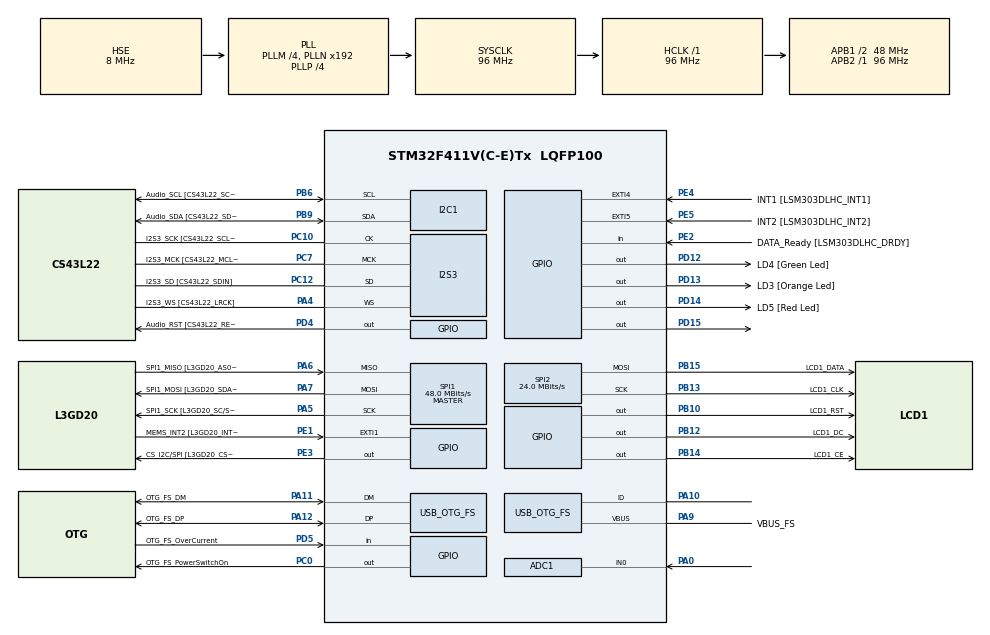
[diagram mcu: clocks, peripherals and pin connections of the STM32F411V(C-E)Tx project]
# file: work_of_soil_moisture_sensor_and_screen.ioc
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ADC1.Channel-0\#ChannelRegularConversion=ADC_CHANNEL_0
ADC1.ContinuousConvMode=ENABLE
ADC1.NbrOfConversionFlag=1
ADC1.Rank-0\#ChannelRegularConversion=1
ADC1.SamplingTime-0\#ChannelRegularConversion=ADC_SAMPLETIME_3CYCLES
ADC1.master=1
I2S3.AudioFreq=I2S_AUDIOFREQ_96K
I2S3.ErrorAudioFreq=-6.99 %
I2S3.FullDuplexMode=I2S_FULLDUPLEXMODE_DISABLE
I2S3.Instance=SPI$Index
I2S3.RealAudioFreq=89.285 KHz
I2S3.VirtualMode=I2S_MODE_MASTER
Mcu.Family=STM32F4
Mcu.Name=STM32F411V(C-E)Tx
Mcu.Package=LQFP100
NVIC.PriorityGroup=NVIC_PRIORITYGROUP_0
PA0-WKUP.Signal=ADCx_IN0
PA10.Mode=OTG/Dual_Role_Device
PA10.Signal=USB_OTG_FS_ID
PA11.GPIO_Label=OTG_FS_DM
PA11.Mode=OTG/Dual_Role_Device
PA11.Signal=USB_OTG_FS_DM
PA12.GPIO_Label=OTG_FS_DP
PA12.Mode=OTG/Dual_Role_Device
PA12.Signal=USB_OTG_FS_DP
PA13.GPIO_Label=SWDIO
PA13.Mode=Serial_Wire
PA13.Signal=SYS_JTMS-SWDIO
PA14.GPIO_Label=SWCLK
PA14.Mode=Serial_Wire
PA14.Signal=SYS_JTCK-SWCLK
PA4.GPIO_Label=I2S3_WS [CS43L22_LRCK]
PA4.GPIO_Mode=GPIO_MODE_AF_PP
PA4.GPIO_PuPd=GPIO_NOPULL
PA4.GPIO_Speed=GPIO_SPEED_FREQ_LOW
PA4.Mode=Half_Duplex_Master
PA4.Signal=I2S3_WS
PA5.GPIO_Label=SPI1_SCK [L3GD20_SC/SPC]
PA5.Mode=Full_Duplex_Master
PA5.Signal=SPI1_SCK
PA6.GPIO_Label=SPI1_MISO [L3GD20_AS0/SDO]
PA6.Mode=Full_Duplex_Master
PA6.Signal=SPI1_MISO
PA7.GPIO_Label=SPI1_MOSI [L3GD20_SDA/SDI/SDO]
PA7.Mode=Full_Duplex_Master
PA7.Signal=SPI1_MOSI
PA9.GPIO_Label=VBUS_FS
PA9.Mode=Activate_VBUS
PA9.Signal=USB_OTG_FS_VBUS
PB10.GPIO_Label=LCD1_RST
PB10.Signal=GPIO_Output
PB12.GPIO_Label=LCD1_DC
PB12.Signal=GPIO_Output
PB13.GPIO_Label=LCD1_CLK
PB13.Mode=TX_Only_Simplex_Unidirect_Master
PB13.Signal=SPI2_SCK
PB14.GPIO_Label=LCD1_CE
PB14.Signal=GPIO_Output
PB15.GPIO_Label=LCD1_DATA
PB15.Mode=TX_Only_Simplex_Unidirect_Master
PB15.Signal=SPI2_MOSI
PB3.Signal=SYS_JTDO-SWO
PB6.GPIO_Label=Audio_SCL [CS43L22_SCL]
PB6.GPIO_Mode=GPIO_MODE_AF_OD
PB6.GPIO_PuPd=GPIO_NOPULL
PB6.GPIO_Speed=GPIO_SPEED_FREQ_LOW
PB6.Mode=I2C
PB6.Signal=I2C1_SCL
PB9.GPIO_Label=Audio_SDA [CS43L22_SDA]
PB9.GPIO_Mode=GPIO_MODE_AF_OD
PB9.GPIO_PuPd=GPIO_NOPULL
PB9.GPIO_Speed=GPIO_SPEED_FREQ_LOW
PB9.Mode=I2C
PB9.Signal=I2C1_SDA
PC0.GPIO_Label=OTG_FS_PowerSwitchOn
PC0.PinState=GPIO_PIN_SET
PC0.Signal=GPIO_Output
PC10.GPIO_Label=I2S3_SCK [CS43L22_SCLK]
PC10.GPIO_Mode=GPIO_MODE_AF_PP
PC10.GPIO_PuPd=GPIO_NOPULL
PC10.GPIO_Speed=GPIO_SPEED_FREQ_LOW
PC10.Mode=Half_Duplex_Master
PC10.Signal=I2S3_CK
PC12.GPIO_Label=I2S3_SD [CS43L22_SDIN]
PC12.GPIO_Mode=GPIO_MODE_AF_PP
PC12.GPIO_PuPd=GPIO_NOPULL
PC12.GPIO_Speed=GPIO_SPEED_FREQ_LOW
PC12.Mode=Half_Duplex_Master
PC12.Signal=I2S3_SD
PC14-OSC32_IN.GPIO_Label=PC14-OSC32_IN
PC14-OSC32_IN.Mode=LSE-External-Oscillator
PC14-OSC32_IN.Signal=RCC_OSC32_IN
PC15-OSC32_OUT.GPIO_Label=PC15-OSC32_OUT
PC15-OSC32_OUT.Mode=LSE-External-Oscillator
PC15-OSC32_OUT.Signal=RCC_OSC32_OUT
PC3.Signal=I2S2_SD
PC7.GPIO_Label=I2S3_MCK [CS43L22_MCLK]
PC7.GPIO_Mode=GPIO_MODE_AF_PP
PC7.GPIO_PuPd=GPIO_NOPULL
PC7.GPIO_Speed=GPIO_SPEED_FREQ_LOW
PC7.Mode=Master_Clock_Activated
PC7.Signal=I2S3_MCK
PD12.GPIO_Label=LD4 [Green Led]
PD12.GPIO_PuPd=GPIO_NOPULL
PD12.GPIO_Speed=GPIO_SPEED_FREQ_LOW
PD12.Signal=GPIO_Output
PD13.GPIO_Label=LD3 [Orange Led]
PD13.GPIO_PuPd=GPIO_NOPULL
PD13.GPIO_Speed=GPIO_SPEED_FREQ_LOW
PD13.Signal=GPIO_Output
PD14.GPIO_Label=LD5 [Red Led]
PD14.GPIO_PuPd=GPIO_NOPULL
PD14.GPIO_Speed=GPIO_SPEED_FREQ_LOW
PD14.Signal=GPIO_Output
PD15.Signal=GPIO_Output
PD4.GPIO_Label=Audio_RST [CS43L22_RESET]
PD4.Signal=GPIO_Output
PD5.GPIO_Label=OTG_FS_OverCurrent
PD5.Signal=GPIO_Input
PE1.GPIO_Label=MEMS_INT2 [L3GD20_INT2]
PE1.GPIO_ModeDefaultEXTI=GPIO_MODE_EVT_RISING
PE1.Signal=GPXTI1
PE2.GPIO_Label=DATA_Ready [LSM303DLHC_DRDY]
PE2.Signal=GPIO_Input
PE3.GPIO_Label=CS_I2C/SPI [L3GD20_CS_I2C/SPI]
PE3.Signal=GPIO_Output
PE4.GPIO_Label=INT1 [LSM303DLHC_INT1]
PE4.GPIO_ModeDefaultEXTI=GPIO_MODE_EVT_RISING
PE4.Signal=GPXTI4
PE5.GPIO_Label=INT2 [LSM303DLHC_INT2]
PE5.GPIO_ModeDefaultEXTI=GPIO_MODE_EVT_RISING
PE5.Signal=GPXTI5
PH0\ -\ OSC_IN.GPIO_Label=PH0-OSC_IN
PH0\ -\ OSC_IN.Mode=HSE-External-Clock-Source
PH0\ -\ OSC_IN.Signal=RCC_OSC_IN
PH1\ -\ OSC_OUT.GPIO_Label=PH1-OSC_OUT
PH1\ -\ OSC_OUT.Mode=HSE-External-Clock-Source
PH1\ -\ OSC_OUT.Signal=RCC_OSC_OUT
ProjectManager.HeapSize=0x200
ProjectManager.StackSize=0x400
ProjectManager.TargetToolchain=SW4STM32
RCC.48MHZClocksFreq_Value=48000000
RCC.AHBFreq_Value=96000000
RCC.APB1CLKDivider=RCC_HCLK_DIV2
RCC.APB1Freq_Value=48000000
RCC.APB1TimFreq_Value=96000000
RCC.APB2Freq_Value=96000000
RCC.APB2TimFreq_Value=96000000
RCC.CortexFreq_Value=96000000
RCC.HCLKFreq_Value=96000000
RCC.HSE_VALUE=8000000
RCC.HSI_VALUE=16000000
RCC.PLLI2SM=5
RCC.PLLI2SN=200
RCC.PLLM=4
RCC.PLLP=RCC_PLLP_DIV4
RCC.PLLQ=8
RCC.SYSCLKFreq_VALUE=96000000
RCC.SYSCLKSource=RCC_SYSCLKSOURCE_PLLCLK
RCC.VCOOutputFreq_Value=384000000
SH.ADCx_IN0.0=ADC1_IN0,IN0
SPI1.BaudRatePrescaler=SPI_BAUDRATEPRESCALER_2
SPI1.CalculateBaudRate=48.0 MBits/s
SPI1.Direction=SPI_DIRECTION_2LINES
SPI1.Mode=SPI_MODE_MASTER
SPI1.VirtualType=VM_MASTER
SPI2.CalculateBaudRate=24.0 MBits/s
SPI2.Direction=SPI_DIRECTION_2LINES
SPI2.Mode=SPI_MODE_MASTER
SPI2.VirtualType=VM_MASTER
TIM3.Period=0
TIM3.Prescaler=96-1
VP_TIM3_VS_ClockSourceINT.Mode=Internal
board=STM32F411E-DISCO

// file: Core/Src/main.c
/* USER CODE BEGIN Header */
/**
  ******************************************************************************
  * @file           : main.c
  * @brief          : Main program body
  ******************************************************************************
  * @attention
  *
  * <h2><center>&copy; Copyright (c) 2020 STMicroelectronics.
  * All rights reserved.</center></h2>
  *
  * This software component is licensed by ST under Ultimate Liberty license
  * SLA0044, the "License"; You may not use this file except in compliance with
  * the License. You may obtain a copy of the License at:
  *                             www.st.com/SLA0044
  *
  ******************************************************************************
  */
/* USER CODE END Header */
#include "main.h"
#include "adc.h"
#include "i2c.h"
#include "i2s.h"
#include "spi.h"
#include "tim.h"
#include "usb_otg.h"
#include "gpio.h"
#include "lcd5110.h"
#include "lcd5110_ll.h"

/* USER CODE BEGIN PM */
uint32_t adcResult = 0;
// values for 5 volt
const int air_value =3200;
const int water_value = 1550;
float soil_moisture_percent;
/* USER CODE END PM */

void SystemClock_Config(void);

/* USER CODE BEGIN 0 */
LCD5110_display lcd1;
/* USER CODE END 0 */

int main(void)
{

  /* MCU Configuration--------------------------------------------------------*/

  /* Reset of all peripherals, Initializes the Flash interface and the Systick. */
  HAL_Init();

  /* Configure the system clock */
  SystemClock_Config();

  /* Initialize all configured peripherals */
  MX_GPIO_Init();
  MX_I2C1_Init();
  MX_I2S3_Init();
  MX_SPI1_Init();
  MX_ADC1_Init();
  MX_TIM3_Init();
  MX_SPI2_Init();
  MX_USB_OTG_FS_USB_Init();
  /* USER CODE BEGIN 2 */
    lcd1.hw_conf.spi_handle = &hspi2;
    lcd1.hw_conf.spi_cs_pin =  LCD1_CE_Pin;
    lcd1.hw_conf.spi_cs_port = LCD1_CE_GPIO_Port;
    lcd1.hw_conf.rst_pin =  LCD1_RST_Pin;
    lcd1.hw_conf.rst_port = LCD1_RST_GPIO_Port;
    lcd1.hw_conf.dc_pin =  LCD1_DC_Pin;
    lcd1.hw_conf.dc_port = LCD1_DC_GPIO_Port;
    lcd1.def_scr = lcd5110_def_scr;
    LCD5110_init(&lcd1.hw_conf, LCD5110_NORMAL_MODE, 0x40, 2, 3);

//    LCD5110_print("Hello world!\n", BLACK, &lcd1);
  /* USER CODE END 2 */

  /* Infinite loop */
  /* USER CODE BEGIN WHILE */

    while (1)
    {
        HAL_ADC_Start(&hadc1);
        HAL_ADC_PollForConversion(&hadc1, 500);
        adcResult = HAL_ADC_GetValue(&hadc1);
        soil_moisture_percent = ((((float)adcResult-air_value)*((float)(100))/(water_value - air_value)));
        HAL_ADC_Stop(&hadc1);
        if(soil_moisture_percent >= 90){
            HAL_GPIO_WritePin(LD4_GPIO_Port, LD4_Pin, GPIO_PIN_RESET);
            HAL_GPIO_WritePin(LD5_GPIO_Port, LD5_Pin, GPIO_PIN_RESET);
            HAL_GPIO_WritePin(LD3_GPIO_Port, LD3_Pin, GPIO_PIN_SET);
            //orange
            LCD5110_set_cursor(0,0,&lcd1);
            if(soil_moisture_percent >100){
                soil_moisture_percent = 100;
            };
            LCD5110_printf(&lcd1,BLACK,"Humidity is\n %.3f\n",soil_moisture_percent);
            LCD5110_set_cursor(0,20,&lcd1);
            LCD5110_printf(&lcd1,BLACK,"it is too wet");
            LCD5110_refresh(&lcd1);
            HAL_Delay(500);
            LCD5110_clear_scr(&lcd1);

        }
        else if(soil_moisture_percent <= 10){
//            LCD5110_clear_scr(&lcd1);
            HAL_GPIO_WritePin(LD3_GPIO_Port, LD3_Pin, GPIO_PIN_RESET);
            HAL_GPIO_WritePin(LD5_GPIO_Port, LD5_Pin, GPIO_PIN_RESET);
            HAL_GPIO_WritePin(LD4_GPIO_Port, LD4_Pin, GPIO_PIN_SET);
            //green
            if(soil_moisture_percent < 0){
                soil_moisture_percent = 0;
            };
            LCD5110_set_cursor(0,0,&lcd1);
            LCD5110_printf(&lcd1,BLACK,"Humidity is\n %.3f\n",soil_moisture_percent);
            LCD5110_set_cursor(0,20,&lcd1);
            LCD5110_printf(&lcd1,BLACK,"it is too dry");
            LCD5110_refresh(&lcd1);
            HAL_Delay(500);
            LCD5110_clear_scr(&lcd1);

        }
        else if (soil_moisture_percent > 10 && soil_moisture_percent < 90){
//            LCD5110_clear_scr(&lcd1);
            HAL_GPIO_WritePin(LD3_GPIO_Port, LD3_Pin, GPIO_PIN_RESET);
            HAL_GPIO_WritePin(LD4_GPIO_Port, LD4_Pin, GPIO_PIN_RESET);
            HAL_GPIO_WritePin(LD5_GPIO_Port, LD5_Pin, GPIO_PIN_SET);
            //red
            LCD5110_set_cursor(0,0,&lcd1);
            LCD5110_printf(&lcd1,BLACK,"Humidity is\n %.3f\n",soil_moisture_percent);
            LCD5110_set_cursor(0,20,&lcd1);
            LCD5110_printf(&lcd1,BLACK,"it is OK");
            LCD5110_refresh(&lcd1);
            HAL_Delay(500);
            LCD5110_clear_scr(&lcd1);
        }

    /* USER CODE END WHILE */

    }
}

void SystemClock_Config(void)
{
  RCC_OscInitTypeDef RCC_OscInitStruct = {0};
  RCC_ClkInitTypeDef RCC_ClkInitStruct = {0};
  RCC_PeriphCLKInitTypeDef PeriphClkInitStruct = {0};

  /** Configure the main internal regulator output voltage
  */
  __HAL_RCC_PWR_CLK_ENABLE();
  __HAL_PWR_VOLTAGESCALING_CONFIG(PWR_REGULATOR_VOLTAGE_SCALE1);
  /** Initializes the RCC Oscillators according to the specified parameters
  * in the RCC_OscInitTypeDef structure.
  */
  RCC_OscInitStruct.OscillatorType = RCC_OSCILLATORTYPE_HSE;
  RCC_OscInitStruct.HSEState = RCC_HSE_BYPASS;
  RCC_OscInitStruct.PLL.PLLState = RCC_PLL_ON;
  RCC_OscInitStruct.PLL.PLLSource = RCC_PLLSOURCE_HSE;
  RCC_OscInitStruct.PLL.PLLM = 4;
  RCC_OscInitStruct.PLL.PLLN = 192;
  RCC_OscInitStruct.PLL.PLLP = RCC_PLLP_DIV4;
  RCC_OscInitStruct.PLL.PLLQ = 8;
  if (HAL_RCC_OscConfig(&RCC_OscInitStruct) != HAL_OK)
  {
    Error_Handler();
  }
  /** Initializes the CPU, AHB and APB buses clocks
  */
  RCC_ClkInitStruct.ClockType = RCC_CLOCKTYPE_HCLK|RCC_CLOCKTYPE_SYSCLK
                              |RCC_CLOCKTYPE_PCLK1|RCC_CLOCKTYPE_PCLK2;
  RCC_ClkInitStruct.SYSCLKSource = RCC_SYSCLKSOURCE_PLLCLK;
  RCC_ClkInitStruct.AHBCLKDivider = RCC_SYSCLK_DIV1;
  RCC_ClkInitStruct.APB1CLKDivider = RCC_HCLK_DIV2;
  RCC_ClkInitStruct.APB2CLKDivider = RCC_HCLK_DIV1;

  if (HAL_RCC_ClockConfig(&RCC_ClkInitStruct, FLASH_LATENCY_3) != HAL_OK)
  {
    Error_Handler();
  }
  PeriphClkInitStruct.PeriphClockSelection = RCC_PERIPHCLK_I2S;
  PeriphClkInitStruct.PLLI2S.PLLI2SN = 200;
  PeriphClkInitStruct.PLLI2S.PLLI2SM = 5;
  PeriphClkInitStruct.PLLI2S.PLLI2SR = 2;
  if (HAL_RCCEx_PeriphCLKConfig(&PeriphClkInitStruct) != HAL_OK)
  {
    Error_Handler();
  }
}

void Error_Handler(void)
{
}

/************************ (C) COPYRIGHT STMicroelectronics *****END OF FILE****/
